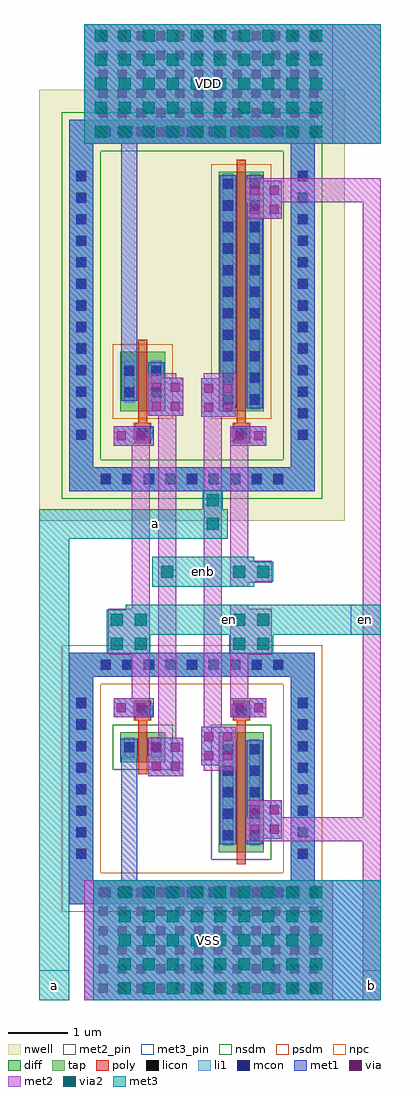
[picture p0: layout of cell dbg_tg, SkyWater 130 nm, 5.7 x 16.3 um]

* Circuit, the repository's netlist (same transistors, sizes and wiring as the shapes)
* dbg_tg: xschem/dbg_tg.sch with {'wn': 2, 'wp': 4} (layout/gen/dbg_tg.py)
** sch_path: /Users/mattvenn/asic/ook-asic-radio/xschem/dbg_tg.sch
.subckt dbg_tg a en b VDD VSS
*.PININFO VDD:B VSS:B en:B a:B b:B
XMip enb en VDD VDD sky130_fd_pr__pfet_01v8 L=0.15 W=1 nf=1
XMin enb en VSS VSS sky130_fd_pr__nfet_01v8 L=0.15 W=0.5 nf=1
XMn a en b VSS sky130_fd_pr__nfet_01v8 L=0.15 W=2 nf=1
XMp a enb b VDD sky130_fd_pr__pfet_01v8 L=0.15 W=4 nf=1
.ends

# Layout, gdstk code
import gdstk
lib = gdstk.Library(unit=1e-6, precision=1e-09)
def R(c, l, rs):  # rectangles x0, y0, x1, y1
    for r in rs: c.add(gdstk.rectangle(r[:2], r[2:], *l))
def A(c, l, x, y, w, h, nx, ny, dx, dy):  # array of equal rectangles
    R(c, l, [(x+i*dx, y+j*dy, x+i*dx+w, y+j*dy+h) for i in range(nx) for j in range(ny)])
def P(c, l, *ps):  # polygons
    for p in ps: c.add(gdstk.Polygon(p, *l))
nwell = (64, 20)
diff = (65, 20)
tap = (65, 44)
poly = (66, 20)
licon = (66, 44)
li1 = (67, 20)
mcon = (67, 44)
met1 = (68, 20)
via = (68, 44)
met2_pin = (69, 16)
met2 = (69, 20)
via2 = (69, 44)
met3_pin = (70, 16)
met3 = (70, 20)
nsdm = (93, 44)
psdm = (94, 20)
npc = (95, 20)

pfet = lib.new_cell('pfet')
R(pfet, nwell, [(-0.305,-0.72,1.055,1.38)])
R(pfet, diff, [(0,0,0.75,1)])
R(pfet, poly, [(0.24,-0.53,0.51,-0.2), (0.3,-0.2,0.45,1.2)])
R(pfet, licon, [(0.29,-0.45,0.46,-0.28), (0.065,0.235,0.235,0.405), (0.515,0.235,0.685,0.405), (0.065,0.595,0.235,0.765), (0.515,0.595,0.685,0.765)])
R(pfet, li1, [(0.21,-0.45,0.54,-0.28), (0.065,0.155,0.235,0.845), (0.515,0.155,0.685,0.845)])
R(pfet, mcon, [(0.29,-0.45,0.46,-0.28), (0.065,0.235,0.235,0.405), (0.515,0.235,0.685,0.405), (0.065,0.595,0.235,0.765), (0.515,0.595,0.685,0.765)])
R(pfet, met1, [(0.19,-0.48,0.56,-0.25), (0.035,0.175,0.265,0.825), (0.485,0.175,0.715,0.825)])
R(pfet, psdm, [(-0.125,-0.125,0.875,1.125)])
R(pfet, npc, [(0.23,-0.54,0.52,-0.19)])

pfet_1 = lib.new_cell('pfet$1')
R(pfet_1, nwell, [(-0.305,-0.72,1.055,4.38)])
R(pfet_1, diff, [(0,0,0.75,4)])
R(pfet_1, poly, [(0.24,-0.53,0.51,-0.2), (0.3,-0.2,0.45,4.2)])
A(pfet_1, licon, 0.065, 0.115, 0.17, 0.17, 1, 11, 0, 0.36)
A(pfet_1, licon, 0.515, 0.115, 0.17, 0.17, 1, 11, 0, 0.36)
R(pfet_1, licon, [(0.29,-0.45,0.46,-0.28)])
R(pfet_1, li1, [(0.21,-0.45,0.54,-0.28), (0.065,0.035,0.235,3.965), (0.515,0.035,0.685,3.965)])
A(pfet_1, mcon, 0.065, 0.115, 0.17, 0.17, 1, 11, 0, 0.36)
A(pfet_1, mcon, 0.515, 0.115, 0.17, 0.17, 1, 11, 0, 0.36)
R(pfet_1, mcon, [(0.29,-0.45,0.46,-0.28)])
R(pfet_1, met1, [(0.19,-0.48,0.56,-0.25), (0.035,0.055,0.265,3.945), (0.485,0.055,0.715,3.945)])
R(pfet_1, psdm, [(-0.125,-0.125,0.875,4.125)])
R(pfet_1, npc, [(0.23,-0.54,0.52,-0.19)])

nfet = lib.new_cell('nfet')
R(nfet, diff, [(0,0,0.75,0.5)])
R(nfet, poly, [(0.3,-0.2,0.45,0.7), (0.24,0.7,0.51,1.03)])
R(nfet, licon, [(0.065,0.165,0.235,0.335), (0.515,0.165,0.685,0.335), (0.29,0.78,0.46,0.95)])
R(nfet, li1, [(0.065,0.085,0.235,0.415), (0.515,0.085,0.685,0.415), (0.21,0.78,0.54,0.95)])
R(nfet, mcon, [(0.065,0.165,0.235,0.335), (0.515,0.165,0.685,0.335), (0.29,0.78,0.46,0.95)])
R(nfet, met1, [(0.005,0.105,0.295,0.395), (0.455,0.105,0.745,0.395), (0.19,0.75,0.56,0.98)])
R(nfet, nsdm, [(-0.125,-0.125,0.875,0.625)])
R(nfet, npc, [(0.23,0.69,0.52,1.04)])

nfet_1 = lib.new_cell('nfet$1')
R(nfet_1, diff, [(0,0,0.75,2)])
R(nfet_1, poly, [(0.3,-0.2,0.45,2.2), (0.24,2.2,0.51,2.53)])
A(nfet_1, licon, 0.065, 0.195, 0.17, 0.17, 1, 5, 0, 0.36)
A(nfet_1, licon, 0.515, 0.195, 0.17, 0.17, 1, 5, 0, 0.36)
R(nfet_1, licon, [(0.29,2.28,0.46,2.45)])
R(nfet_1, li1, [(0.065,0.115,0.235,1.885), (0.515,0.115,0.685,1.885), (0.21,2.28,0.54,2.45)])
A(nfet_1, mcon, 0.065, 0.195, 0.17, 0.17, 1, 5, 0, 0.36)
A(nfet_1, mcon, 0.515, 0.195, 0.17, 0.17, 1, 5, 0, 0.36)
R(nfet_1, mcon, [(0.29,2.28,0.46,2.45)])
R(nfet_1, met1, [(0.035,0.135,0.265,1.865), (0.485,0.135,0.715,1.865), (0.19,2.25,0.56,2.48)])
R(nfet_1, nsdm, [(-0.125,-0.125,0.875,2.125)])
R(nfet_1, npc, [(0.23,2.19,0.52,2.54)])

dbg_tg = lib.new_cell('dbg_tg')
R(dbg_tg, nwell, [(-0.75,0.85,4.35,8.05)])
P(dbg_tg, tap, [(-0.25,1.35),(-0.25,7.15),(0.15,7.15),(0.15,1.75),(3.45,1.75),(3.45,7.15),(-0.25,7.15),(-0.25,7.55),(3.85,7.55),(3.85,1.35)],
  [(-0.25,-5.55),(-0.25,-1.75),(0.15,-1.75),(0.15,-5.15),(3.45,-5.15),(3.45,-1.75),(-0.25,-1.75),(-0.25,-1.35),(3.85,-1.35),(3.85,-5.55)])
A(dbg_tg, licon, 0.275, -5.435, 0.17, 0.17, 9, 2, 0.36, 3.8)
A(dbg_tg, licon, -0.135, -4.795, 0.17, 0.17, 1, 8, 0, 0.36)
A(dbg_tg, licon, 3.565, -4.795, 0.17, 0.17, 1, 8, 0, 0.36)
A(dbg_tg, licon, 0.275, 1.465, 0.17, 0.17, 9, 2, 0.36, 5.8)
A(dbg_tg, licon, -0.135, 2.205, 0.17, 0.17, 1, 13, 0, 0.36)
A(dbg_tg, licon, 3.565, 2.205, 0.17, 0.17, 1, 13, 0, 0.36)
P(dbg_tg, li1, [(-0.25,1.35),(-0.25,7.15),(0.15,7.15),(0.15,1.75),(3.45,1.75),(3.45,7.15),(-0.25,7.15),(-0.25,7.55),(3.85,7.55),(3.85,1.35)],
  [(-0.25,-5.55),(-0.25,-1.75),(0.15,-1.75),(0.15,-5.15),(3.45,-5.15),(3.45,-1.75),(-0.25,-1.75),(-0.25,-1.35),(3.85,-1.35),(3.85,-5.55)])
A(dbg_tg, mcon, 0.275, -5.435, 0.17, 0.17, 9, 2, 0.36, 3.8)
A(dbg_tg, mcon, -0.135, -4.795, 0.17, 0.17, 1, 8, 0, 0.36)
A(dbg_tg, mcon, 3.565, -4.795, 0.17, 0.17, 1, 8, 0, 0.36)
A(dbg_tg, mcon, 0.275, 1.465, 0.17, 0.17, 9, 2, 0.36, 5.8)
A(dbg_tg, mcon, -0.135, 2.205, 0.17, 0.17, 1, 13, 0, 0.36)
A(dbg_tg, mcon, 3.565, 2.205, 0.17, 0.17, 1, 13, 0, 0.36)
R(dbg_tg, met1, [(0,-7.15,4.15,-5.15), (3.35,-7.15,4.95,-5.15), (0.615,-5.55,0.885,-2.785), (2.265,-4.545,2.535,-2.815), (2.715,-4.545,2.985,-2.815), (2.7,-4.495,3,-4.095), (1.065,-3.09,1.335,-2.77), (1.065,-3.075,1.335,-2.785), (0.49,-2.43,0.79,-2.11), (0.79,-2.43,1.16,-2.11), (2.44,-2.43,2.81,-2.11), (2.81,-2.43,3.04,-2.11), (0.49,2.11,0.79,2.43), (0.79,2.11,1.16,2.43), (2.44,2.11,2.81,2.43), (2.81,2.11,3.04,2.43), (2.265,2.735,2.535,6.625), (2.715,2.735,2.985,6.625), (0.615,2.855,0.885,7.55), (1.065,2.855,1.335,3.505), (2.7,6.175,3,6.575), (0,7.15,4.15,9.15), (3.35,7.15,4.95,9.15)])
P(dbg_tg, met1, [(-0.25,1.35),(-0.25,7.15),(0.15,7.15),(0.15,1.75),(3.45,1.75),(3.45,7.15),(-0.25,7.15),(-0.25,7.55),(3.85,7.55),(3.85,1.35)],
  [(-0.25,-5.55),(-0.25,-1.75),(0.15,-1.75),(0.15,-5.15),(3.45,-5.15),(3.45,-1.75),(-0.25,-1.75),(-0.25,-1.35),(3.85,-1.35),(3.85,-5.55)],
  [(3,-4.455),(3,-4.095),(2.985,-4.095),(2.985,-3.815),(3.3,-3.815),(3.3,-4.455)],
  [(1.95,-3.23),(1.95,-2.59),(2.53,-2.59),(2.53,-2.815),(2.265,-2.815),(2.265,-3.23)],
  [(1.07,-3.41),(1.07,-3.09),(1.335,-3.09),(1.335,-3.075),(1.345,-3.075),(1.345,-2.785),(1.335,-2.785),(1.335,-2.77),(1.65,-2.77),(1.65,-3.41)],
  [(1.95,2.59),(1.95,3.23),(2.265,3.23),(2.265,2.735),(2.53,2.735),(2.53,2.59)],
  [(1.07,2.605),(1.07,2.855),(1.335,2.855),(1.335,3.245),(1.65,3.245),(1.65,2.605)],
  [(2.985,5.895),(2.985,6.175),(3,6.175),(3,6.535),(3.3,6.535),(3.3,5.895)])
A(dbg_tg, via, 0.24, -7.025, 0.15, 0.15, 12, 6, 0.32, 0.32)
A(dbg_tg, via, 0.24, 7.275, 0.15, 0.15, 12, 6, 0.32, 0.32)
R(dbg_tg, via, [(2.775,-4.37,2.925,-4.22), (3.095,-4.37,3.245,-4.22), (2.775,-4.05,2.925,-3.9), (3.095,-4.05,3.245,-3.9), (1.125,-3.325,1.275,-3.175), (1.445,-3.325,1.595,-3.175), (2.005,-3.145,2.155,-2.995), (2.325,-3.145,2.475,-2.995), (1.125,-3.005,1.275,-2.855), (1.445,-3.005,1.595,-2.855), (2.005,-2.825,2.155,-2.675), (2.325,-2.825,2.475,-2.675), (0.545,-2.345,0.695,-2.195), (0.865,-2.345,1.015,-2.195), (2.515,-2.345,2.665,-2.195), (2.835,-2.345,2.985,-2.195), (0.545,2.195,0.695,2.345), (0.865,2.195,1.015,2.345), (2.515,2.195,2.665,2.345), (2.835,2.195,2.985,2.345), (2.005,2.675,2.155,2.825), (2.325,2.675,2.475,2.825), (1.125,2.69,1.275,2.84), (1.445,2.69,1.595,2.84), (2.005,2.995,2.155,3.145), (2.325,2.995,2.475,3.145), (1.125,3.01,1.275,3.16), (1.445,3.01,1.595,3.16), (2.775,5.98,2.925,6.13), (3.095,5.98,3.245,6.13), (2.775,6.3,2.925,6.45), (3.095,6.3,3.245,6.45)])
R(dbg_tg, met2_pin, [(4.65,-7.15,4.95,-6.65)])
R(dbg_tg, met2, [(0,-7.15,4.15,-5.15), (4.65,-7.15,4.95,6.575), (2.7,-4.495,4.95,-4.095), (2.72,-4.095,3.3,-3.815), (1.995,-3.32,2.535,-2.82), (1.95,-3.23,1.995,-2.59), (1.065,-3.14,1.535,-2.77), (1.995,-2.82,2.295,1.05), (2.295,-2.82,2.53,-2.59), (1.235,-2.77,1.535,0.25), (0.49,-2.43,0.79,-2.11), (0.79,-2.43,1.09,-0.55), (2.44,-2.43,2.74,-0.55), (2.74,-2.43,3.04,-2.11), (0.4,-1.385,0.79,-0.615), (2.74,-1.385,3.13,-0.615), (0.79,-1.05,1.09,2.43), (1.235,-0.25,1.535,2.82), (2.44,-0.25,2.74,2.43), (2.74,-0.185,3.13,0.185), (1.995,0.55,2.295,2.82), (0.49,2.11,0.79,2.43), (2.74,2.11,3.04,2.43), (1.95,2.59,1.995,3.23), (2.295,2.59,2.53,2.82), (1.07,2.605,1.235,2.82), (1.535,2.605,1.65,3.245), (1.065,2.82,1.535,3.32), (1.995,2.82,2.535,3.32), (2.72,5.895,3.3,6.175), (2.7,6.175,4.95,6.575), (0,7.15,4.15,9.15), (3.35,7.15,4.95,9.15)])
P(dbg_tg, met2, [(1.07,-3.41),(1.07,-3.14),(1.535,-3.14),(1.535,-2.77),(1.65,-2.77),(1.65,-3.41)])
A(dbg_tg, via2, 0.575, -7.05, 0.2, 0.2, 9, 5, 0.4, 0.4)
A(dbg_tg, via2, 0.175, 7.25, 0.2, 0.2, 10, 5, 0.4, 0.4)
R(dbg_tg, via2, [(0.44,-1.3,0.64,-1.1), (0.84,-1.3,1.04,-1.1), (2.49,-1.3,2.69,-1.1), (2.89,-1.3,3.09,-1.1), (0.44,-0.9,0.64,-0.7), (0.84,-0.9,1.04,-0.7), (2.49,-0.9,2.69,-0.7), (2.89,-0.9,3.09,-0.7), (1.285,-0.1,1.485,0.1), (2.49,-0.1,2.69,0.1), (2.89,-0.1,3.09,0.1), (2.045,0.7,2.245,0.9), (2.045,1.1,2.245,1.3)])
R(dbg_tg, met3_pin, [(-0.75,-7.15,-0.25,-6.65), (0.15,-7.15,4.15,-5.15), (4.45,-1.05,4.95,-0.55), (0,7.15,4.15,9.15)])
R(dbg_tg, met3, [(-0.75,-7.15,-0.25,1.05), (0.15,-7.15,4.95,-5.15), (2.425,-1.365,3.155,-1.05), (0.69,-1.05,4.95,-0.55), (1.135,-0.25,2.84,0.25), (2.84,-0.165,3.155,0.165), (-0.75,0.55,0,1.05), (0,0.55,2.395,1.05), (1.98,1.05,2.31,1.365), (0,7.15,4.95,9.15)])
P(dbg_tg, met3, [(0.375,-1.365),(0.375,-0.635),(0.69,-0.635),(0.69,-1.05),(1.105,-1.05),(1.105,-1.365)])
P(dbg_tg, nsdm, [(-0.375,1.225),(-0.375,7.025),(0.275,7.025),(0.275,1.875),(3.325,1.875),(3.325,7.025),(-0.375,7.025),(-0.375,7.675),(3.975,7.675),(3.975,1.225)])
P(dbg_tg, psdm, [(-0.375,-5.675),(-0.375,-1.875),(0.275,-1.875),(0.275,-5.025),(3.325,-5.025),(3.325,-1.875),(-0.375,-1.875),(-0.375,-1.225),(3.975,-1.225),(3.975,-5.675)])
dbg_tg.add(gdstk.Reference(pfet, (0.6,2.68)))
dbg_tg.add(gdstk.Reference(pfet_1, (2.25,2.68)))
dbg_tg.add(gdstk.Reference(nfet, (0.6,-3.18)))
dbg_tg.add(gdstk.Reference(nfet_1, (2.25,-4.68)))
dbg_tg.add(gdstk.Label('VDD', (2.075,8.15), layer=70, texttype=5))
dbg_tg.add(gdstk.Label('VSS', (2.075,-6.15), layer=70, texttype=5))
dbg_tg.add(gdstk.Label('a', (1.198,0.8), layer=70, texttype=5))
dbg_tg.add(gdstk.Label('enb', (1.988,0), layer=70, texttype=5))
dbg_tg.add(gdstk.Label('en', (2.42,-0.8), layer=70, texttype=5))
dbg_tg.add(gdstk.Label('en', (4.7,-0.8), layer=70, texttype=5))
dbg_tg.add(gdstk.Label('a', (-0.5,-6.9), layer=70, texttype=5))
dbg_tg.add(gdstk.Label('b', (4.8,-6.9), layer=69, texttype=5))

lib.write_gds('dbg_tg.gds')
